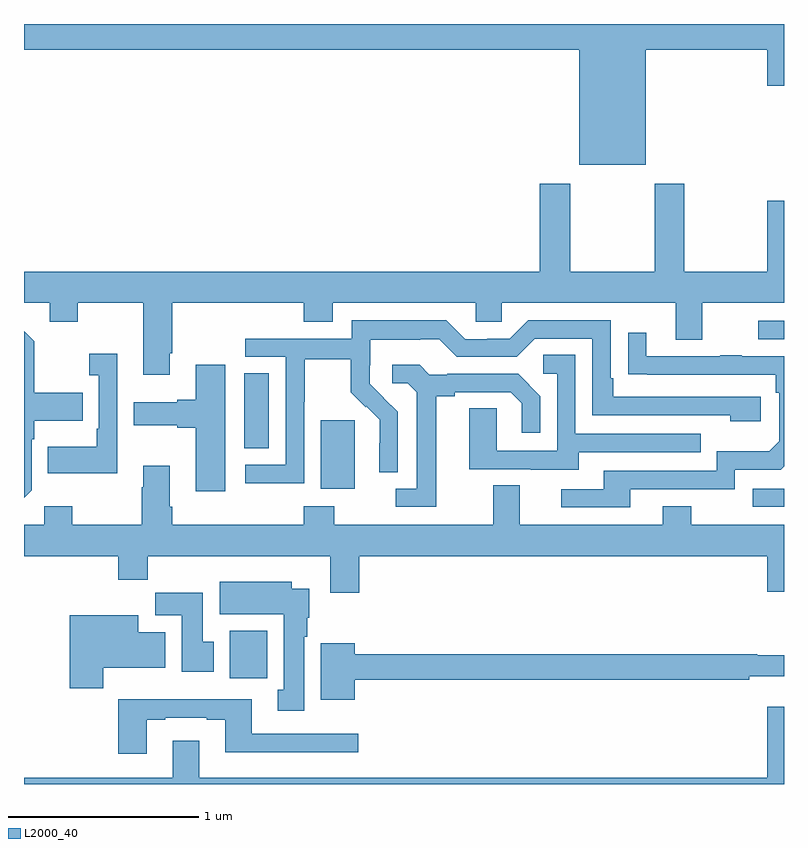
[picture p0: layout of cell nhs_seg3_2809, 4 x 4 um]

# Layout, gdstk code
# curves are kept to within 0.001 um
import gdstk
lib = gdstk.Library(unit=1e-6, precision=1e-09)
def R(c, l, rs):  # rectangles x0, y0, x1, y1
    for r in rs: c.add(gdstk.rectangle(r[:2], r[2:], *l))
def P(c, l, *ps):  # polygons
    for p in ps: c.add(gdstk.Polygon(p, *l))
L2000_40 = (2000, 40)

nhs_seg3_2809 = lib.new_cell('nhs_seg3_2809')
R(nhs_seg3_2809, L2000_40, [(258.083,682.956,258.279,683.206), (260.835,683.859,261,683.955), (258.563,683.954,258.742,684.315), (258.158,684.166,258.289,684.563), (260.865,684.741,261,684.837)])
P(nhs_seg3_2809, L2000_40, [(261,686.4),(257,686.4),(257,686.264),(259.922,686.264),(259.922,685.658),(260.272,685.658),(260.272,686.264),(260.912,686.264),(260.912,686.076),(261,686.076)],
  [(257.767,684.667),(257.779,684.667),(257.779,684.932),(258.473,684.932),(258.473,684.833),(258.625,684.833),(258.625,684.932),(259.377,684.932),(259.377,684.834),(259.515,684.834),(259.515,684.932),(260.429,684.932),(260.429,684.738),(260.569,684.738),(260.569,684.932),(261,684.932),(261,685.471),(260.912,685.471),(260.912,685.096),(260.475,685.096),(260.475,685.558),(260.32,685.558),(260.32,685.096),(259.875,685.096),(259.875,685.558),(259.715,685.558),(259.715,685.096),(257,685.096),(257,684.932),(257.135,684.932),(257.135,684.833),(257.283,684.833),(257.283,684.932),(257.627,684.932),(257.627,684.555),(257.767,684.555)],
  [(258.474,684.412),(258.477,684.412),(258.477,684.636),(258.721,684.636),(258.721,684.461),(258.798,684.384),(258.801,684.387),(258.872,684.317),(258.872,684.194),(258.87,684.194),(258.87,684.04),(258.966,684.04),(258.966,684.358),(258.82,684.506),(258.82,684.603),(258.822,684.603),(258.822,684.737),(259.085,684.737),(259.085,684.741),(259.185,684.741),(259.278,684.648),(259.593,684.648),(259.689,684.744),(259.992,684.744),(259.992,684.342),(260.717,684.342),(260.717,684.308),(260.878,684.308),(260.878,684.438),(260.101,684.438),(260.101,684.535),(260.088,684.535),(260.088,684.84),(259.653,684.84),(259.557,684.744),(259.439,684.744),(259.439,684.741),(259.323,684.741),(259.223,684.841),(258.726,684.841),(258.726,684.744),(258.165,684.744),(258.165,684.648),(258.378,684.648),(258.378,684.081),(258.165,684.081),(258.165,683.983),(258.474,683.983)],
  [(257.04,683.946),(257.04,684.215),(257.053,684.215),(257.053,684.311),(257.309,684.311),(257.309,684.459),(257.053,684.459),(257.053,684.731),(257,684.784),(257,683.906)],
  [(260.191,683.952),(260.742,683.952),(260.742,684.054),(260.982,684.054),(261,684.072),(261,684.651),(260.777,684.651),(260.777,684.656),(260.665,684.656),(260.665,684.651),(260.275,684.651),(260.275,684.775),(260.179,684.775),(260.179,684.556),(260.956,684.555),(260.956,684.458),(260.976,684.458),(260.976,684.204),(260.923,684.151),(260.646,684.151),(260.646,684.048),(260.051,684.048),(260.051,683.952),(259.827,683.952),(259.827,683.856),(260.191,683.856)],
  [(257.49,684.664),(257.343,684.664),(257.343,684.551),(257.394,684.551),(257.394,684.271),(257.382,684.271),(257.382,684.175),(257.125,684.175),(257.125,684.035),(257.49,684.035)],
  [(259.921,684.147),(260.561,684.147),(260.561,684.243),(259.902,684.243),(259.902,684.659),(259.734,684.659),(259.734,684.558),(259.806,684.558),(259.806,684.153),(259.488,684.153),(259.488,684.377),(259.343,684.377),(259.343,684.057),(259.667,684.057),(259.667,684.053),(259.921,684.053)],
  [(258.058,684.607),(257.903,684.607),(257.903,684.422),(257.807,684.422),(257.807,684.409),(257.577,684.409),(257.577,684.287),(257.807,684.287),(257.807,684.275),(257.903,684.275),(257.903,683.94),(258.058,683.94)],
  [(259.171,684.44),(259.267,684.44),(259.267,684.462),(259.562,684.462),(259.619,684.405),(259.619,684.249),(259.716,684.249),(259.716,684.442),(259.6,684.558),(259.228,684.558),(259.228,684.555),(259.134,684.555),(259.082,684.607),(258.939,684.607),(258.939,684.51),(259.02,684.51),(259.067,684.463),(259.067,683.955),(258.957,683.955),(258.957,683.859),(259.171,683.859)],
  [(257.106,683.863),(257.106,683.764),(257,683.764),(257,683.6),(257.495,683.6),(257.495,683.476),(257.651,683.476),(257.651,683.6),(258.611,683.6),(258.611,683.406),(258.764,683.406),(258.764,683.6),(260.912,683.6),(260.912,683.412),(261,683.412),(261,683.764),(260.511,683.764),(260.511,683.863),(260.363,683.863),(260.363,683.764),(259.609,683.764),(259.609,683.972),(259.469,683.972),(259.469,683.764),(258.633,683.764),(258.633,683.863),(258.473,683.863),(258.473,683.764),(257.779,683.764),(257.779,683.86),(257.767,683.86),(257.767,684.076),(257.627,684.076),(257.627,683.963),(257.62,683.963),(257.62,683.764),(257.253,683.764),(257.253,683.863)],
  [(258.475,683.174),(258.49,683.174),(258.49,683.274),(258.502,683.274),(258.502,683.428),(258.409,683.428),(258.409,683.464),(258.029,683.464),(258.029,683.294),(258.368,683.294),(258.368,682.897),(258.335,682.897),(258.335,682.785),(258.475,682.785)],
  [(257.998,683.148),(257.941,683.148),(257.941,683.406),(257.692,683.406),(257.692,683.288),(257.831,683.288),(257.831,682.992),(257.998,682.992)],
  [(257.418,683.012),(257.743,683.012),(257.743,683.2),(257.602,683.2),(257.602,683.287),(257.24,683.287),(257.24,682.905),(257.418,682.905)],
  [(258.742,682.948),(260.816,682.948),(260.816,682.967),(261,682.967),(261,683.077),(260.86,683.077),(260.86,683.084),(258.742,683.084),(258.742,683.14),(258.563,683.14),(258.563,682.844),(258.742,682.844)],
  [(257.647,682.737),(257.743,682.737),(257.743,682.749),(257.963,682.749),(257.963,682.737),(258.059,682.737),(258.059,682.568),(258.76,682.568),(258.76,682.665),(258.199,682.665),(258.199,682.846),(257.495,682.846),(257.495,682.56),(257.647,682.56)],
  [(261,682.807),(260.912,682.807),(260.912,682.432),(257.923,682.432),(257.923,682.627),(257.783,682.627),(257.783,682.432),(257,682.432),(257,682.4),(261,682.4)])

lib.write_gds('nhs_seg3_2809.gds')
